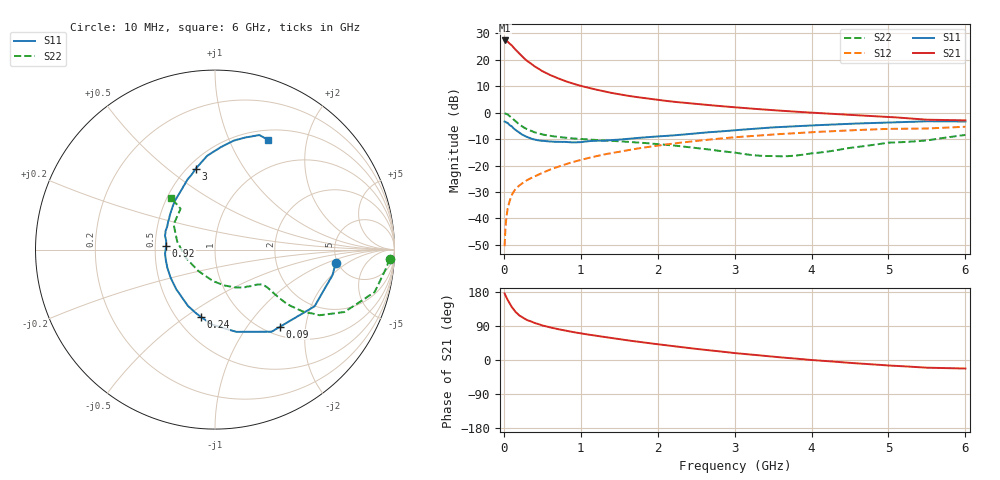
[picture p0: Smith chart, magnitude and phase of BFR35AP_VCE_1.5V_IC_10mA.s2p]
! Infineon Technologies  Discrete & RF Semiconductors
! BFR35AP
! VCE =  1.5 V,  IC =  10 mA
! Common Emitter S-Parameters:  Nov 2015
# GHz  S  MA  R  50
!  f  S11  S21  S12  S22
! GHz  MAG  ANG  MAG  ANG  MAG  ANG  MAG  ANG
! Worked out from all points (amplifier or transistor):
!   210 points, 10 MHz to 6 GHz, reference 50 ohm
!   highest |S21| = 27.2 dB at 10 MHz (marker M1)
!   |S21| within 3 dB of that: start of sweep to 136.6 MHz
!   unconditionally stable (mu >= 1): 496.5 MHz to 4.324 GHz; 5.179 GHz to end of sweep
!   at 185 MHz: K = 0.58, MSG = 25.4 dB, |S12| = -28.0 dB
!   at 1.52 GHz: K = 1.14, MAG = 8.5 dB, |S12| = -14.6 dB
!   at 6 GHz: K = 1.00, MAG = 0.9 dB, |S12| = -5.4 dB
!   S11 on the Smith chart (normalised r, x): 10 MHz: 4.79, -1.33; 90 MHz: 1.16, -1.46; 240 MHz: 0.65, -0.57; 920 MHz: 0.57, +0.03; 3 GHz: 0.55, +0.63; 6 GHz: 0.62, +1.41
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0.01  0.6762 -6.4  22.98 175.5  0.003 87.1  0.9741 -3.0
0.02  0.6699 -12.3  22.75 170.7  0.0063 86.0  0.959 -6.2
0.05  0.6383 -29.7  21.82 158.1  0.0154 76.9  0.9205 -14.9
0.09  0.5622 -49.7  19.19 144.4  0.0247 68.5  0.8216 -23.4
0.1  0.5556 -55.4  18.73 140.4  0.0271 67.3  0.8001 -25.8
0.15  0.4734 -75.5  15.5 127.0  0.0359 61.8  0.688 -32.1
0.2  0.4188 -92.0  13.02 117.7  0.0418 60.1  0.5977 -35.2
0.24  0.3827 -102.0  11.4 112.4  0.0462 59.3  0.5454 -36.3
0.3  0.3475 -115.9  9.505 105.5  0.0528 59.4  0.4869 -37.1
0.4  0.3088 -134.3  7.457 97.7  0.0624 60.6  0.4237 -36.8
0.5  0.2927 -147.5  6.053 91.2  0.0725 61.5  0.3851 -36.2
0.6  0.2844 -158.8  5.132 86.1  0.0836 62.1  0.3633 -35.9
0.7  0.2802 -167.7  4.454 81.5  0.0943 62.6  0.3473 -35.9
0.92  0.2733 175.5  3.446 73.0  0.1188 62.3  0.3228 -36.8
1.02  0.2787 168.7  3.138 69.7  0.1297 62.0  0.3157 -37.8
1.4  0.3032 149.9  2.349 57.9  0.1718 59.4  0.293 -43.3
2.02  0.3556 127.8  1.72 41.1  0.2401 52.9  0.252 -56.6
3  0.464 103.3  1.259 18.3  0.3415 40.3  0.1757 -93.7
3.1  0.4753 101.4  1.226 16.5  0.35 38.8  0.1665 -99.5
4.1  0.5796 85.4  0.977 -1.4  0.4329 25.2  0.1751 -171.1
5.1  0.6542 73.5  0.81 -15.5  0.4929 11.4  0.2729 144.7
6  0.6793 64.0  0.712 -22.5  0.5393 1.5  0.378 130.3
